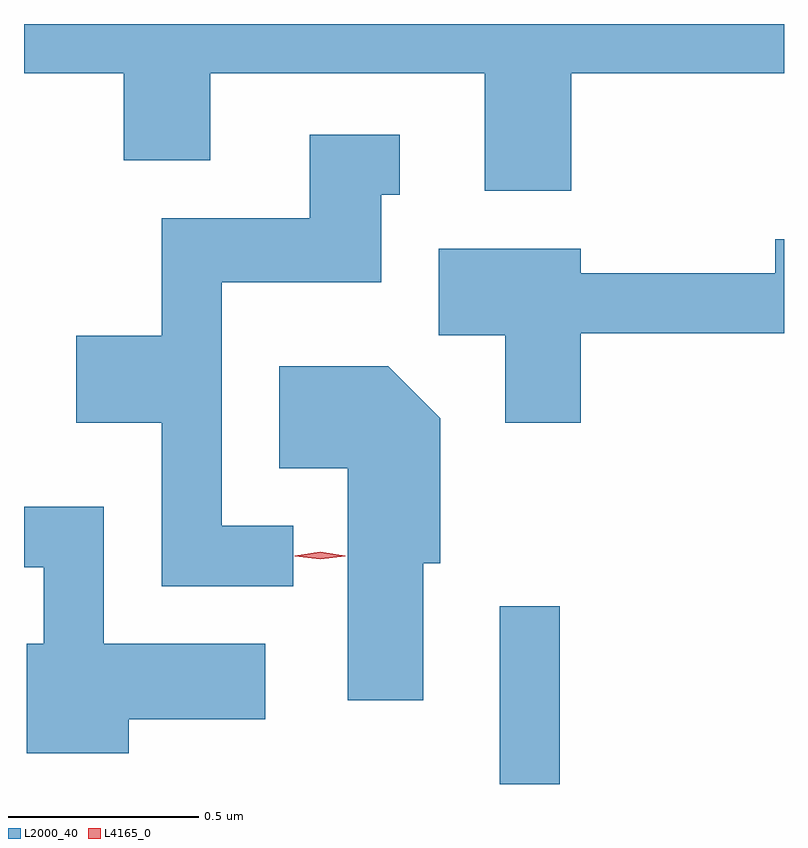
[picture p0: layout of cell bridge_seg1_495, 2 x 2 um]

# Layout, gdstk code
import gdstk
lib = gdstk.Library(unit=1e-6, precision=1e-09)
def R(c, l, rs):  # rectangles x0, y0, x1, y1
    for r in rs: c.add(gdstk.rectangle(r[:2], r[2:], *l))
def P(c, l, *ps):  # polygons
    for p in ps: c.add(gdstk.Polygon(p, *l))
L2000_40 = (2000, 40)
L4165_0 = (4165, 0)

bridge_seg1_495 = lib.new_cell('bridge_seg1_495')
R(bridge_seg1_495, L2000_40, [(482.421,902.145,482.579,902.613)])
P(bridge_seg1_495, L2000_40, [(482.609,904.016),(483.169,904.016),(483.169,904.145),(481.169,904.145),(481.169,904.016),(481.431,904.016),(481.431,903.786),(481.659,903.786),(481.659,904.016),(482.381,904.016),(482.381,903.706),(482.609,903.706)],
  [(481.878,902.824),(481.689,902.824),(481.689,903.466),(482.109,903.466),(482.109,903.696),(482.158,903.696),(482.158,903.854),(481.921,903.854),(481.921,903.634),(481.531,903.634),(481.531,903.324),(481.306,903.324),(481.306,903.096),(481.531,903.096),(481.531,902.666),(481.878,902.666)],
  [(482.634,903.331),(483.169,903.331),(483.169,903.579),(483.146,903.579),(483.146,903.489),(482.634,903.489),(482.634,903.554),(482.261,903.554),(482.261,903.326),(482.436,903.326),(482.436,903.096),(482.634,903.096)],
  [(482.219,902.726),(482.264,902.726),(482.264,903.107),(482.127,903.244),(481.841,903.244),(481.841,902.976),(482.021,902.976),(482.021,902.366),(482.219,902.366)],
  [(481.444,902.316),(481.804,902.316),(481.804,902.514),(481.379,902.514),(481.379,902.874),(481.169,902.874),(481.169,902.716),(481.221,902.716),(481.221,902.514),(481.176,902.514),(481.176,902.226),(481.444,902.226)])
P(bridge_seg1_495, L4165_0, [(481.948,902.736),(481.882,902.745),(481.882,902.746),(481.882,902.746),(481.948,902.756),(482.015,902.746),(482.015,902.746),(482.015,902.745)])

lib.write_gds('bridge_seg1_495.gds')
